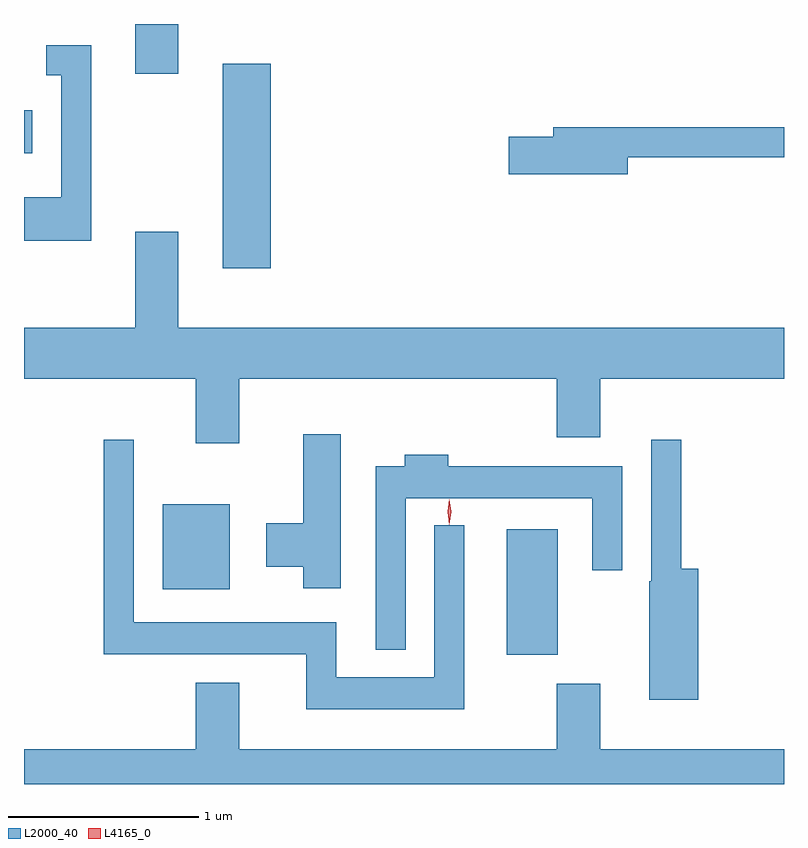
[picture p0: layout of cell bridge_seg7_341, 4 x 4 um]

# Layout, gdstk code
import gdstk
lib = gdstk.Library(unit=1e-6, precision=1e-09)
def R(c, l, rs):  # rectangles x0, y0, x1, y1
    for r in rs: c.add(gdstk.rectangle(r[:2], r[2:], *l))
def P(c, l, *ps):  # polygons
    for p in ps: c.add(gdstk.Polygon(p, *l))
L2000_40 = (2000, 40)
L4165_0 = (4165, 0)

bridge_seg7_341 = lib.new_cell('bridge_seg7_341')
R(bridge_seg7_341, L2000_40, [(1230.536,1759.481,1230.804,1760.144), (1228.726,1759.826,1229.079,1760.274), (1229.041,1761.516,1229.294,1762.594), (1227.996,1762.121,1228.039,1762.349), (1228.581,1762.541,1228.809,1762.802)])
P(bridge_seg7_341, L2000_40, [(1228.349,1762.689),(1228.113,1762.689),(1228.113,1762.531),(1228.191,1762.531),(1228.191,1761.889),(1227.996,1761.889),(1227.996,1761.661),(1228.349,1761.661)],
  [(1231.174,1762.101),(1231.996,1762.101),(1231.996,1762.259),(1230.781,1762.259),(1230.781,1762.209),(1230.546,1762.209),(1230.546,1762.011),(1231.174,1762.011)],
  [(1229.129,1760.936),(1230.801,1760.936),(1230.801,1760.626),(1231.029,1760.626),(1231.029,1760.936),(1231.996,1760.936),(1231.996,1761.204),(1228.809,1761.204),(1228.809,1761.709),(1228.581,1761.709),(1228.581,1761.204),(1227.996,1761.204),(1227.996,1760.936),(1228.901,1760.936),(1228.901,1760.596),(1229.129,1760.596)],
  [(1229.664,1760.644),(1229.466,1760.644),(1229.466,1760.174),(1229.271,1760.174),(1229.271,1759.946),(1229.466,1759.946),(1229.466,1759.831),(1229.664,1759.831)],
  [(1231.544,1759.934),(1231.454,1759.934),(1231.454,1760.613),(1231.296,1760.613),(1231.296,1759.87),(1231.286,1759.87),(1231.286,1759.246),(1231.544,1759.246)],
  [(1230.314,1760.163),(1230.156,1760.163),(1230.156,1759.364),(1229.639,1759.364),(1229.639,1759.654),(1228.574,1759.654),(1228.574,1760.613),(1228.416,1760.613),(1228.416,1759.486),(1229.481,1759.486),(1229.481,1759.196),(1230.314,1759.196)],
  [(1230.004,1760.306),(1230.986,1760.306),(1230.986,1759.928),(1231.144,1759.928),(1231.144,1760.474),(1230.229,1760.474),(1230.229,1760.534),(1230.001,1760.534),(1230.001,1760.474),(1229.846,1760.474),(1229.846,1759.508),(1230.004,1759.508)],
  [(1231.996,1758.984),(1231.029,1758.984),(1231.029,1759.329),(1230.801,1759.329),(1230.801,1758.984),(1229.129,1758.984),(1229.129,1759.334),(1228.901,1759.334),(1228.901,1758.984),(1227.996,1758.984),(1227.996,1758.802),(1231.996,1758.802)])
P(bridge_seg7_341, L4165_0, [(1230.234,1760.167),(1230.225,1760.234),(1230.234,1760.3),(1230.235,1760.301),(1230.235,1760.3),(1230.245,1760.234),(1230.235,1760.167),(1230.235,1760.167)])

lib.write_gds('bridge_seg7_341.gds')
